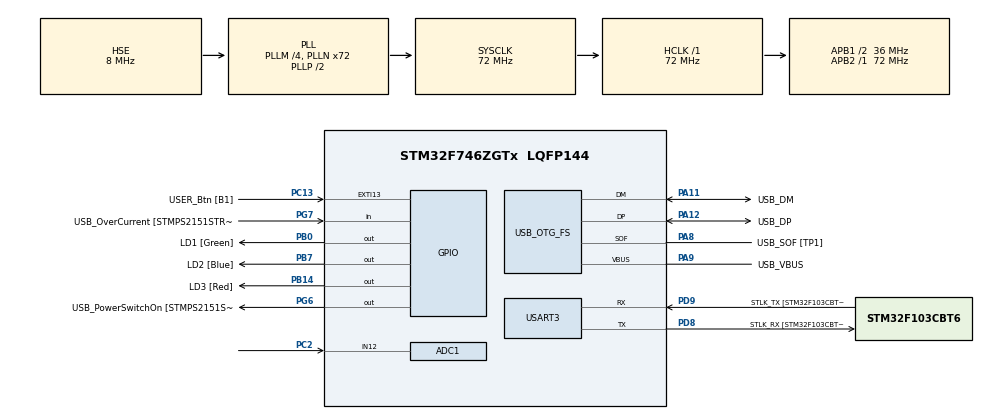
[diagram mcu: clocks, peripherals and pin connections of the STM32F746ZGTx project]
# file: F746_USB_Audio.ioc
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ADC1.Channel-10\#ChannelRegularConversion=ADC_CHANNEL_12
ADC1.ExternalTrigConv=ADC_EXTERNALTRIGCONV_T8_TRGO
ADC1.NbrOfConversionFlag=1
ADC1.Rank-10\#ChannelRegularConversion=1
ADC1.SamplingTime-10\#ChannelRegularConversion=ADC_SAMPLETIME_3CYCLES
ADC1.master=1
CORTEX_M7.CPU_DCache=Enabled
CORTEX_M7.CPU_ICache=Enabled
Dma.ADC1.0.Direction=DMA_PERIPH_TO_MEMORY
Dma.ADC1.0.FIFOMode=DMA_FIFOMODE_DISABLE
Dma.ADC1.0.Instance=DMA2_Stream0
Dma.ADC1.0.MemDataAlignment=DMA_MDATAALIGN_HALFWORD
Dma.ADC1.0.MemInc=DMA_MINC_ENABLE
Dma.ADC1.0.Mode=DMA_CIRCULAR
Dma.ADC1.0.PeriphDataAlignment=DMA_PDATAALIGN_HALFWORD
Dma.ADC1.0.PeriphInc=DMA_PINC_DISABLE
Dma.ADC1.0.Priority=DMA_PRIORITY_LOW
Dma.Request0=ADC1
Mcu.Family=STM32F7
Mcu.Name=STM32F746ZGTx
Mcu.Package=LQFP144
NVIC.DMA2_Stream0_IRQn=true\:0\:0\:false\:false\:true\:false\:true\:true
NVIC.OTG_FS_IRQn=true\:0\:0\:false\:false\:true\:false\:true\:true
NVIC.PriorityGroup=NVIC_PRIORITYGROUP_4
PA1.GPIO_Label=RMII_REF_CLK [LAN8742A-CZ-TR_REFCLK0]
PA1.Signal=ETH_REF_CLK
PA10.GPIO_Label=USB_ID
PA10.Signal=USB_OTG_FS_ID
PA11.GPIO_Label=USB_DM
PA11.Mode=Device_Only
PA11.Signal=USB_OTG_FS_DM
PA12.GPIO_Label=USB_DP
PA12.Mode=Device_Only
PA12.Signal=USB_OTG_FS_DP
PA13.GPIO_Label=TMS
PA13.Mode=Serial_Wire
PA13.Signal=SYS_JTMS-SWDIO
PA14.GPIO_Label=TCK
PA14.Mode=Serial_Wire
PA14.Signal=SYS_JTCK-SWCLK
PA2.GPIO_Label=RMII_MDIO [LAN8742A-CZ-TR_MDIO]
PA2.Signal=ETH_MDIO
PA7.GPIO_Label=RMII_CRS_DV [LAN8742A-CZ-TR_CRS_DV]
PA7.Signal=ETH_CRS_DV
PA8.GPIO_Label=USB_SOF [TP1]
PA8.Mode=Activate_SOF_FS
PA8.Signal=USB_OTG_FS_SOF
PA9.GPIO_Label=USB_VBUS
PA9.Mode=Activate_VBUS
PA9.Signal=USB_OTG_FS_VBUS
PB0.GPIO_Label=LD1 [Green]
PB0.Signal=GPIO_Output
PB13.GPIO_Label=RMII_TXD1 [LAN8742A-CZ-TR_TXD1]
PB13.Signal=ETH_TXD1
PB14.GPIO_Label=LD3 [Red]
PB14.Signal=GPIO_Output
PB3.GPIO_Label=SW0
PB3.Signal=SYS_JTDO-SWO
PB7.GPIO_Label=LD2 [Blue]
PB7.Signal=GPIO_Output
PC1.GPIO_Label=RMII_MDC [LAN8742A-CZ-TR_MDC]
PC1.Signal=ETH_MDC
PC13.GPIO_Label=USER_Btn [B1]
PC13.Signal=GPXTI13
PC14/OSC32_IN.Mode=LSE-External-Oscillator
PC14/OSC32_IN.Signal=RCC_OSC32_IN
PC15/OSC32_OUT.Mode=LSE-External-Oscillator
PC15/OSC32_OUT.Signal=RCC_OSC32_OUT
PC2.Signal=ADCx_IN12
PC4.GPIO_Label=RMII_RXD0 [LAN8742A-CZ-TR_RXD0]
PC4.Signal=ETH_RXD0
PC5.GPIO_Label=RMII_RXD1 [LAN8742A-CZ-TR_RXD1]
PC5.Signal=ETH_RXD1
PD8.GPIO_Label=STLK_RX [STM32F103CBT6_PA3]
PD8.Mode=Asynchronous
PD8.Signal=USART3_TX
PD9.GPIO_Label=STLK_TX [STM32F103CBT6_PA2]
PD9.Mode=Asynchronous
PD9.Signal=USART3_RX
PG11.GPIO_Label=RMII_TX_EN [LAN8742A-CZ-TR_TXEN]
PG11.Signal=ETH_TX_EN
PG13.GPIO_Label=RMII_TXD0 [LAN8742A-CZ-TR_TXD0]
PG13.Signal=ETH_TXD0
PG6.GPIO_Label=USB_PowerSwitchOn [STMPS2151STR_EN]
PG6.Signal=GPIO_Output
PG7.GPIO_Label=USB_OverCurrent [STMPS2151STR_FAULT]
PG7.Signal=GPIO_Input
PH0/OSC_IN.GPIO_Label=MCO [STM32F103CBT6_PA8]
PH0/OSC_IN.Mode=HSE-External-Clock-Source
PH0/OSC_IN.Signal=RCC_OSC_IN
PH1/OSC_OUT.Mode=HSE-External-Clock-Source
PH1/OSC_OUT.Signal=RCC_OSC_OUT
ProjectManager.HeapSize=0x200
ProjectManager.StackSize=0x400
ProjectManager.TargetToolchain=STM32CubeIDE
RCC.48MHZClocksFreq_Value=24000000
RCC.AHBFreq_Value=72000000
RCC.APB1CLKDivider=RCC_HCLK_DIV2
RCC.APB1Freq_Value=36000000
RCC.APB1TimFreq_Value=72000000
RCC.APB2Freq_Value=72000000
RCC.APB2TimFreq_Value=72000000
RCC.CortexFreq_Value=72000000
RCC.HCLKFreq_Value=72000000
RCC.HSE_VALUE=8000000
RCC.HSI_VALUE=16000000
RCC.PLLM=4
RCC.PLLMUL=RCC_PLL_MUL9
RCC.PLLN=72
RCC.PLLQ=3
RCC.PRESCALERUSB=RCC_USBCLKSOURCE_PLL_DIV1_5
RCC.SYSCLKFreq_VALUE=72000000
RCC.SYSCLKSource=RCC_SYSCLKSOURCE_PLLCLK
RCC.SYSCLKSourceVirtual=RCC_SYSCLKSOURCE_PLLCLK
RCC.USBFreq_Value=48000000
RCC.VCOOutputFreq_Value=144000000
SH.ADCx_IN12.0=ADC1_IN12,IN12
TIM8.Period=124
TIM8.TIM_MasterOutputTrigger=TIM_TRGO_UPDATE
TIM8.TIM_MasterOutputTrigger2=TIM_TRGO2_UPDATE
USART3.VirtualMode-Asynchronous=VM_ASYNC
USB_DEVICE.CLASS_NAME_FS=AUDIO
USB_DEVICE.PID_AUDIO_FS=0x5731
USB_DEVICE.PRODUCT_STRING_AUDIO_FS=STM32 Microphone
USB_DEVICE.USBD_AUDIO_FREQ-AUDIO_FS=48000
USB_DEVICE.USBD_MAX_NUM_CONFIGURATION-AUDIO_FS=1
USB_DEVICE.USBD_MAX_NUM_INTERFACES-AUDIO_FS=1
USB_DEVICE.USBD_MAX_STR_DESC_SIZ-AUDIO_FS=512
USB_DEVICE.VID-AUDIO_FS=0x483
USB_DEVICE.VirtualMode-AUDIO_FS=Audio
USB_DEVICE.VirtualModeFS=Audio_FS
USB_OTG_FS.VirtualMode=Device_Only
VP_TIM8_VS_ClockSourceINT.Mode=Internal
VP_USB_DEVICE_VS_USB_DEVICE_AUDIO_FS.Mode=AUDIO_FS
board=NUCLEO-F746ZG

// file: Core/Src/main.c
/* USER CODE BEGIN Header */
/**
 ******************************************************************************
 * @file           : main.c
 * @brief          : Main program body
 ******************************************************************************
 * @attention
 *
 * Copyright (c) 2022 STMicroelectronics.
 * All rights reserved.
 *
 * This software is licensed under terms that can be found in the LICENSE file
 * in the root directory of this software component.
 * If no LICENSE file comes with this software, it is provided AS-IS.
 *
 ******************************************************************************
 */
/* USER CODE END Header */
#include "main.h"
#include "usb_device.h"

/* USER CODE BEGIN Includes */
#include "usbd_audio_if.h"
/* USER CODE END Includes */

/* USER CODE BEGIN PD */
#define OSA_BUF_SIZE 16      /* ADC oversampling buffer. Make sure to state the correct
                                shift and offset amount in HAL_ADC_ConvCpltCallback() and
                                adjust the sampling frequency accordingly */
extern USBD_HandleTypeDef hUsbDeviceFS;
int16_t adc_buffer[OSA_BUF_SIZE * AUDIO_IN_PACKET / 2] = { 0 };
/* USER CODE END PD */

ADC_HandleTypeDef hadc1;
DMA_HandleTypeDef hdma_adc1;

TIM_HandleTypeDef htim8;

UART_HandleTypeDef huart3;

/* USER CODE BEGIN PV */
uint32_t LED_Fun_Cnt = 0; // Blinking LEDs delay counter
/* USER CODE END PV */

void SystemClock_Config(void);
static void MX_GPIO_Init(void);
static void MX_USART3_UART_Init(void);
static void MX_DMA_Init(void);
static void MX_ADC1_Init(void);
static void MX_TIM8_Init(void);

/* USER CODE BEGIN 0 */
void HAL_ADC_ConvCpltCallback(ADC_HandleTypeDef *hadc) {
	USBD_AUDIO_HandleTypeDef *haudio = hUsbDeviceFS.pClassData;
	int16_t *buf_part = haudio->in_buffer
			+ (AUDIO_IN_PACKET / 2) * haudio->in_buffer_half; // USB mic buffer access

			/* Oversample for +2 bits */
	for (uint16_t i = 0; i < (AUDIO_IN_PACKET / 2); i++) {
		int32_t avg_value = 0;
		for (uint16_t j = 0; j < OSA_BUF_SIZE; j++) {
			avg_value += adc_buffer[OSA_BUF_SIZE * i + j];
		}
		// bit shift for signed variables is undefined behaviour
		// Don't forget the mic amp offset: 0-1706, 1-3413, 2-6826
		buf_part[i] = (avg_value / 4) - 6826;
	}
}

void ADC_to_MIC(void) {
	HAL_ADC_Start_DMA(&hadc1, (uint32_t*) adc_buffer,
			OSA_BUF_SIZE * (AUDIO_IN_PACKET / 2)); // Start ADC transfer into oversampling buffer
}

/* Randomly blinking LEDs to show that something is working */
void NUCLEO_LEDs_FUN() {
	int r = rand() % 8;
	if (LED_Fun_Cnt >= 10000) {
		GPIO_PinState ps;
		ps = ((r & 0x01) > 0) ? GPIO_PIN_SET : GPIO_PIN_RESET;
		HAL_GPIO_WritePin(LD1_GPIO_Port, LD1_Pin, ps);
		ps = ((r & 0x02) > 0) ? GPIO_PIN_SET : GPIO_PIN_RESET;
		HAL_GPIO_WritePin(LD2_GPIO_Port, LD2_Pin, ps);
		ps = ((r & 0x04) > 0) ? GPIO_PIN_SET : GPIO_PIN_RESET;
		HAL_GPIO_WritePin(LD3_GPIO_Port, LD3_Pin, ps);
		LED_Fun_Cnt = 0;
	} else {
		LED_Fun_Cnt++;
	}
}
/* USER CODE END 0 */

int main(void) {

	/* Enable I-Cache---------------------------------------------------------*/
	SCB_EnableICache();

	/* Enable D-Cache---------------------------------------------------------*/
	SCB_EnableDCache();

	/* MCU Configuration--------------------------------------------------------*/

	/* Reset of all peripherals, Initializes the Flash interface and the Systick. */
	HAL_Init();

	/* Configure the system clock */
	SystemClock_Config();

	/* Initialize all configured peripherals */
	MX_GPIO_Init();
	MX_USART3_UART_Init();
	MX_DMA_Init();
	MX_ADC1_Init();
	MX_TIM8_Init();
	MX_USB_DEVICE_Init();
	/* USER CODE BEGIN 2 */
	HAL_TIM_Base_Start(&htim8);
	/* USER CODE END 2 */

	/* Infinite loop */
	/* USER CODE BEGIN WHILE */
	while (1) {
		NUCLEO_LEDs_FUN();
		/* USER CODE END WHILE */

	}
}

void SystemClock_Config(void) {
	RCC_OscInitTypeDef RCC_OscInitStruct = { 0 };
	RCC_ClkInitTypeDef RCC_ClkInitStruct = { 0 };

	/** Configure LSE Drive Capability
	 */
	HAL_PWR_EnableBkUpAccess();

	/** Configure the main internal regulator output voltage
	 */
	__HAL_RCC_PWR_CLK_ENABLE();
	__HAL_PWR_VOLTAGESCALING_CONFIG(PWR_REGULATOR_VOLTAGE_SCALE3);

	/** Initializes the RCC Oscillators according to the specified parameters
	 * in the RCC_OscInitTypeDef structure.
	 */
	RCC_OscInitStruct.OscillatorType = RCC_OSCILLATORTYPE_HSE;
	RCC_OscInitStruct.HSEState = RCC_HSE_BYPASS;
	RCC_OscInitStruct.PLL.PLLState = RCC_PLL_ON;
	RCC_OscInitStruct.PLL.PLLSource = RCC_PLLSOURCE_HSE;
	RCC_OscInitStruct.PLL.PLLM = 4;
	RCC_OscInitStruct.PLL.PLLN = 72;
	RCC_OscInitStruct.PLL.PLLP = RCC_PLLP_DIV2;
	RCC_OscInitStruct.PLL.PLLQ = 3;
	if (HAL_RCC_OscConfig(&RCC_OscInitStruct) != HAL_OK) {
		Error_Handler();
	}

	/** Initializes the CPU, AHB and APB buses clocks
	 */
	RCC_ClkInitStruct.ClockType = RCC_CLOCKTYPE_HCLK | RCC_CLOCKTYPE_SYSCLK
			| RCC_CLOCKTYPE_PCLK1 | RCC_CLOCKTYPE_PCLK2;
	RCC_ClkInitStruct.SYSCLKSource = RCC_SYSCLKSOURCE_PLLCLK;
	RCC_ClkInitStruct.AHBCLKDivider = RCC_SYSCLK_DIV1;
	RCC_ClkInitStruct.APB1CLKDivider = RCC_HCLK_DIV2;
	RCC_ClkInitStruct.APB2CLKDivider = RCC_HCLK_DIV1;

	if (HAL_RCC_ClockConfig(&RCC_ClkInitStruct, FLASH_LATENCY_2) != HAL_OK) {
		Error_Handler();
	}
}

static void MX_ADC1_Init(void) {

	ADC_ChannelConfTypeDef sConfig = { 0 };

	/** Configure the global features of the ADC (Clock, Resolution, Data Alignment and number of conversion)
	 */
	hadc1.Instance = ADC1;
	hadc1.Init.ClockPrescaler = ADC_CLOCK_SYNC_PCLK_DIV2;
	hadc1.Init.Resolution = ADC_RESOLUTION_12B;
	hadc1.Init.ScanConvMode = DISABLE; //ADC_SCAN_DISABLE;
	hadc1.Init.ContinuousConvMode = DISABLE;
	hadc1.Init.DiscontinuousConvMode = DISABLE;
	hadc1.Init.ExternalTrigConvEdge = ADC_EXTERNALTRIGCONVEDGE_RISING;
	hadc1.Init.ExternalTrigConv = ADC_EXTERNALTRIGCONV_T8_TRGO;
	hadc1.Init.DataAlign = ADC_DATAALIGN_RIGHT;
	hadc1.Init.NbrOfConversion = 1;
	hadc1.Init.DMAContinuousRequests = ENABLE; //DISABLE;
	hadc1.Init.EOCSelection = ADC_EOC_SINGLE_CONV;
	if (HAL_ADC_Init(&hadc1) != HAL_OK) {
		Error_Handler();
	}

	/** Configure for the selected ADC regular channel its corresponding rank in the sequencer and its sample time.
	 */
	sConfig.Channel = ADC_CHANNEL_12;
	sConfig.Rank = ADC_REGULAR_RANK_1;
	sConfig.SamplingTime = ADC_SAMPLETIME_3CYCLES;
	if (HAL_ADC_ConfigChannel(&hadc1, &sConfig) != HAL_OK) {
		Error_Handler();
	}

}

static void MX_TIM8_Init(void) {

	TIM_ClockConfigTypeDef sClockSourceConfig = { 0 };
	TIM_MasterConfigTypeDef sMasterConfig = { 0 };

	htim8.Instance = TIM8;
	htim8.Init.Prescaler = 0;
	htim8.Init.CounterMode = TIM_COUNTERMODE_UP;
	htim8.Init.Period = 124;
	htim8.Init.ClockDivision = TIM_CLOCKDIVISION_DIV1;
	htim8.Init.RepetitionCounter = 0;
	htim8.Init.AutoReloadPreload = TIM_AUTORELOAD_PRELOAD_DISABLE;
	if (HAL_TIM_Base_Init(&htim8) != HAL_OK) {
		Error_Handler();
	}
	sClockSourceConfig.ClockSource = TIM_CLOCKSOURCE_INTERNAL;
	if (HAL_TIM_ConfigClockSource(&htim8, &sClockSourceConfig) != HAL_OK) {
		Error_Handler();
	}
	sMasterConfig.MasterOutputTrigger = TIM_TRGO_UPDATE;
	sMasterConfig.MasterOutputTrigger2 = TIM_TRGO2_UPDATE;
	sMasterConfig.MasterSlaveMode = TIM_MASTERSLAVEMODE_DISABLE;
	if (HAL_TIMEx_MasterConfigSynchronization(&htim8, &sMasterConfig)
			!= HAL_OK) {
		Error_Handler();
	}

}

static void MX_USART3_UART_Init(void) {

	huart3.Instance = USART3;
	huart3.Init.BaudRate = 115200;
	huart3.Init.WordLength = UART_WORDLENGTH_8B;
	huart3.Init.StopBits = UART_STOPBITS_1;
	huart3.Init.Parity = UART_PARITY_NONE;
	huart3.Init.Mode = UART_MODE_TX_RX;
	huart3.Init.HwFlowCtl = UART_HWCONTROL_NONE;
	huart3.Init.OverSampling = UART_OVERSAMPLING_16;
	huart3.Init.OneBitSampling = UART_ONE_BIT_SAMPLE_DISABLE;
	huart3.AdvancedInit.AdvFeatureInit = UART_ADVFEATURE_NO_INIT;
	if (HAL_UART_Init(&huart3) != HAL_OK) {
		Error_Handler();
	}

}

static void MX_DMA_Init(void) {

	/* DMA controller clock enable */
	__HAL_RCC_DMA2_CLK_ENABLE();

	/* DMA interrupt init */
	/* DMA2_Stream0_IRQn interrupt configuration */
	HAL_NVIC_SetPriority(DMA2_Stream0_IRQn, 0, 0);
	HAL_NVIC_EnableIRQ(DMA2_Stream0_IRQn);

}

static void MX_GPIO_Init(void) {
	GPIO_InitTypeDef GPIO_InitStruct = { 0 };

	/* GPIO Ports Clock Enable */
	__HAL_RCC_GPIOC_CLK_ENABLE();
	__HAL_RCC_GPIOH_CLK_ENABLE();
	__HAL_RCC_GPIOA_CLK_ENABLE();
	__HAL_RCC_GPIOB_CLK_ENABLE();
	__HAL_RCC_GPIOD_CLK_ENABLE();
	__HAL_RCC_GPIOG_CLK_ENABLE();

	/*Configure GPIO pin Output Level */
	HAL_GPIO_WritePin(GPIOB, LD1_Pin | LD3_Pin | LD2_Pin, GPIO_PIN_RESET);

	/*Configure GPIO pin Output Level */
	HAL_GPIO_WritePin(USB_PowerSwitchOn_GPIO_Port, USB_PowerSwitchOn_Pin,
			GPIO_PIN_RESET);

	/*Configure GPIO pin : USER_Btn_Pin */
	GPIO_InitStruct.Pin = USER_Btn_Pin;
	GPIO_InitStruct.Mode = GPIO_MODE_IT_RISING;
	GPIO_InitStruct.Pull = GPIO_NOPULL;
	HAL_GPIO_Init(USER_Btn_GPIO_Port, &GPIO_InitStruct);

	/*Configure GPIO pins : RMII_MDC_Pin RMII_RXD0_Pin RMII_RXD1_Pin */
	GPIO_InitStruct.Pin = RMII_MDC_Pin | RMII_RXD0_Pin | RMII_RXD1_Pin;
	GPIO_InitStruct.Mode = GPIO_MODE_AF_PP;
	GPIO_InitStruct.Pull = GPIO_NOPULL;
	GPIO_InitStruct.Speed = GPIO_SPEED_FREQ_VERY_HIGH;
	GPIO_InitStruct.Alternate = GPIO_AF11_ETH;
	HAL_GPIO_Init(GPIOC, &GPIO_InitStruct);

	/*Configure GPIO pins : RMII_REF_CLK_Pin RMII_MDIO_Pin RMII_CRS_DV_Pin */
	GPIO_InitStruct.Pin = RMII_REF_CLK_Pin | RMII_MDIO_Pin | RMII_CRS_DV_Pin;
	GPIO_InitStruct.Mode = GPIO_MODE_AF_PP;
	GPIO_InitStruct.Pull = GPIO_NOPULL;
	GPIO_InitStruct.Speed = GPIO_SPEED_FREQ_VERY_HIGH;
	GPIO_InitStruct.Alternate = GPIO_AF11_ETH;
	HAL_GPIO_Init(GPIOA, &GPIO_InitStruct);

	/*Configure GPIO pins : LD1_Pin LD3_Pin LD2_Pin */
	GPIO_InitStruct.Pin = LD1_Pin | LD3_Pin | LD2_Pin;
	GPIO_InitStruct.Mode = GPIO_MODE_OUTPUT_PP;
	GPIO_InitStruct.Pull = GPIO_NOPULL;
	GPIO_InitStruct.Speed = GPIO_SPEED_FREQ_LOW;
	HAL_GPIO_Init(GPIOB, &GPIO_InitStruct);

	/*Configure GPIO pin : RMII_TXD1_Pin */
	GPIO_InitStruct.Pin = RMII_TXD1_Pin;
	GPIO_InitStruct.Mode = GPIO_MODE_AF_PP;
	GPIO_InitStruct.Pull = GPIO_NOPULL;
	GPIO_InitStruct.Speed = GPIO_SPEED_FREQ_VERY_HIGH;
	GPIO_InitStruct.Alternate = GPIO_AF11_ETH;
	HAL_GPIO_Init(RMII_TXD1_GPIO_Port, &GPIO_InitStruct);

	/*Configure GPIO pin : USB_PowerSwitchOn_Pin */
	GPIO_InitStruct.Pin = USB_PowerSwitchOn_Pin;
	GPIO_InitStruct.Mode = GPIO_MODE_OUTPUT_PP;
	GPIO_InitStruct.Pull = GPIO_NOPULL;
	GPIO_InitStruct.Speed = GPIO_SPEED_FREQ_LOW;
	HAL_GPIO_Init(USB_PowerSwitchOn_GPIO_Port, &GPIO_InitStruct);

	/*Configure GPIO pin : USB_OverCurrent_Pin */
	GPIO_InitStruct.Pin = USB_OverCurrent_Pin;
	GPIO_InitStruct.Mode = GPIO_MODE_INPUT;
	GPIO_InitStruct.Pull = GPIO_NOPULL;
	HAL_GPIO_Init(USB_OverCurrent_GPIO_Port, &GPIO_InitStruct);

	/*Configure GPIO pins : RMII_TX_EN_Pin RMII_TXD0_Pin */
	GPIO_InitStruct.Pin = RMII_TX_EN_Pin | RMII_TXD0_Pin;
	GPIO_InitStruct.Mode = GPIO_MODE_AF_PP;
	GPIO_InitStruct.Pull = GPIO_NOPULL;
	GPIO_InitStruct.Speed = GPIO_SPEED_FREQ_VERY_HIGH;
	GPIO_InitStruct.Alternate = GPIO_AF11_ETH;
	HAL_GPIO_Init(GPIOG, &GPIO_InitStruct);

}

void Error_Handler(void) {
	__disable_irq();
	while (1) {
	}
}
